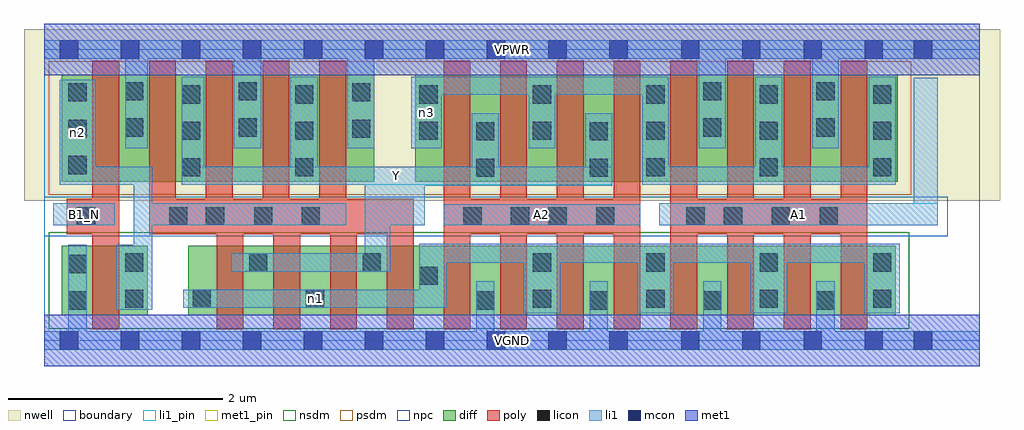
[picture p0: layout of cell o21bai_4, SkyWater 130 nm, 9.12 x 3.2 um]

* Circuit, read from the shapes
.subckt o21bai_4 A1 A2 B1_N VGND VPWR Y n1 n2 n3
XM1 n2 B1_N VGND VSUBS sky130_fd_pr__nfet_01v8 w=0.65 l=0.25
XM2 Y n2 n1 VSUBS sky130_fd_pr__nfet_01v8 w=0.65 l=0.25 m=4
XM3 VGND A2 n1 VSUBS sky130_fd_pr__nfet_01v8 w=0.65 l=0.25 m=4
XM4 VGND A1 n1 VSUBS sky130_fd_pr__nfet_01v8 w=0.65 l=0.25 m=4
XM5 VPWR B1_N n2 n4 sky130_fd_pr__pfet_01v8 w=1 l=0.25
XM6 Y n2 VPWR n4 sky130_fd_pr__pfet_01v8 w=1 l=0.25 m=4
XM7 Y A2 n3 n4 sky130_fd_pr__pfet_01v8 w=1 l=0.25 m=4
XM8 VPWR A1 n3 n4 sky130_fd_pr__pfet_01v8 w=1 l=0.25 m=4
.ends

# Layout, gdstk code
import gdstk
lib = gdstk.Library(unit=1e-6, precision=1e-09)
def R(c, l, rs):  # rectangles x0, y0, x1, y1
    for r in rs: c.add(gdstk.rectangle(r[:2], r[2:], *l))
def A(c, l, x, y, w, h, nx, ny, dx, dy):  # array of equal rectangles
    R(c, l, [(x+i*dx, y+j*dy, x+i*dx+w, y+j*dy+h) for i in range(nx) for j in range(ny)])
nwell = (64, 20)
diff = (65, 20)
poly = (66, 20)
licon = (66, 44)
li1_pin = (67, 16)
li1 = (67, 20)
mcon = (67, 44)
met1_pin = (68, 16)
met1 = (68, 20)
nsdm = (93, 44)
psdm = (94, 20)
npc = (95, 20)
boundary = (235, 4)

o21bai_4 = lib.new_cell('o21bai_4')
R(o21bai_4, nwell, [(-0.19,1.305,8.93,2.91), (0,1.305,8.74,2.91)])
R(o21bai_4, diff, [(0.165,0.235,0.965,0.885), (1.345,0.235,7.955,0.885), (0.165,1.485,3.085,2.485), (3.465,1.485,7.975,2.485)])
A(o21bai_4, poly, 1.61, 0.105, 0.25, 1.22, 4, 1, 0.53, 0)
A(o21bai_4, poly, 3.73, 0.105, 0.25, 2.51, 8, 1, 0.53, 0)
A(o21bai_4, poly, 0.98, 0.995, 0.25, 1.62, 4, 1, 0.53, 0)
R(o21bai_4, poly, [(0.45,0.105,0.7,2.615), (0.21,0.995,0.7,1.325), (0.98,0.995,3.45,1.325), (3.73,0.995,5.57,1.325), (5.85,0.995,7.69,1.325)])
A(o21bai_4, licon, 4.035, 0.29, 0.17, 0.17, 4, 1, 1.06, 0)
A(o21bai_4, licon, 4.565, 0.305, 0.17, 0.17, 4, 2, 1.06, 0.34)
A(o21bai_4, licon, 1.285, 1.535, 0.17, 0.17, 1, 3, 0, 0.34)
A(o21bai_4, licon, 2.345, 1.535, 0.17, 0.17, 1, 3, 0, 0.34)
A(o21bai_4, licon, 5.625, 1.535, 0.17, 0.17, 3, 1, 1.06, 0)
A(o21bai_4, licon, 0.225, 1.555, 0.17, 0.17, 1, 3, 0, 0.34)
A(o21bai_4, licon, 3.505, 1.875, 0.17, 0.17, 5, 2, 1.06, 0.34)
R(o21bai_4, licon, [(0.225,0.29,0.395,0.46), (0.755,0.305,0.925,0.475), (1.385,0.305,1.555,0.475), (2.445,0.305,2.615,0.475), (3.505,0.52,3.675,0.69), (0.225,0.63,0.395,0.8), (0.755,0.645,0.925,0.815), (1.915,0.645,2.085,0.815), (2.975,0.645,3.145,0.815), (0.305,1.075,0.475,1.245), (1.165,1.075,1.335,1.245), (1.51,1.075,1.68,1.245), (1.96,1.075,2.13,1.245), (2.405,1.075,2.575,1.245), (3.915,1.075,4.085,1.245), (4.36,1.075,4.53,1.245), (4.71,1.075,4.88,1.245), (5.155,1.075,5.325,1.245), (6,1.075,6.17,1.245), (6.35,1.075,6.52,1.245), (6.795,1.075,6.965,1.245), (7.245,1.075,7.415,1.245), (4.035,1.53,4.205,1.7), (5.095,1.53,5.265,1.7), (4.035,1.87,4.205,2.04), (5.095,1.87,5.265,2.04), (2.875,1.895,3.045,2.065), (0.755,1.905,0.925,2.075), (1.815,1.905,1.985,2.075), (6.155,1.905,6.325,2.075), (7.215,1.905,7.385,2.075), (2.875,2.235,3.045,2.405), (0.755,2.245,0.925,2.415), (1.815,2.245,1.985,2.415), (6.155,2.245,6.325,2.415), (7.215,2.245,7.385,2.415)])
R(o21bai_4, li1_pin, [(0.085,1.075,0.66,1.285), (3.73,1.075,5.57,1.275), (5.745,1.075,8.35,1.285), (1.285,1.455,5.305,1.625)])
A(o21bai_4, li1, 4.035, -0.085, 0.17, 0.64, 4, 1, 1.06, 0)
A(o21bai_4, li1, 4.48, 0.255, 0.34, 0.65, 3, 1, 1.06, 0)
A(o21bai_4, li1, 5.585, 1.455, 0.25, 1.01, 3, 1, 1.06, 0)
R(o21bai_4, li1, [(0,-0.085,8.74,0.085), (0.225,-0.085,0.395,0.895), (7.66,0.255,7.995,0.905), (0.67,0.29,1.01,0.895), (0.835,0.29,1.01,1.625), (1.3,0.305,3.76,0.475), (3.505,0.305,3.76,0.905), (1.745,0.645,3.23,0.815), (2.995,0.645,3.23,1.625), (3.505,0.725,7.995,0.905), (0.085,1.075,0.66,1.285), (0.835,1.075,2.82,1.285), (2.995,1.075,3.555,1.625), (3.73,1.075,5.57,1.275), (5.745,1.075,8.35,1.285), (8.125,1.075,8.35,2.455), (2.995,1.445,5.305,1.625), (3.995,1.445,4.245,2.125), (5.055,1.445,5.305,2.125), (0.145,1.455,0.48,2.435), (0.145,1.455,1.01,1.625), (1.285,1.455,5.305,1.625), (1.285,1.455,1.495,2.465), (2.3,1.455,2.555,2.465), (5.585,1.455,7.955,1.625), (0.755,1.795,0.965,2.805), (1.77,1.795,2.025,2.805), (2.83,1.795,3.085,2.805), (3.43,1.795,3.715,2.465), (4.525,1.795,4.775,2.465), (6.115,1.795,6.365,2.805), (7.175,1.795,7.425,2.805), (3.43,2.295,5.835,2.465), (0,2.635,8.74,2.805)])
A(o21bai_4, mcon, 0.145, -0.085, 0.17, 0.17, 8, 2, 0.57, 2.72)
R(o21bai_4, mcon, [(4.71,-0.085,4.88,0.085), (5.28,-0.085,5.45,0.085), (5.95,-0.085,6.12,0.085), (6.52,-0.085,6.69,0.085), (7.095,-0.085,7.265,0.085), (7.665,-0.085,7.835,0.085), (8.125,-0.085,8.295,0.085), (4.71,2.635,4.88,2.805), (5.28,2.635,5.45,2.805), (5.95,2.635,6.12,2.805), (6.52,2.635,6.69,2.805), (7.095,2.635,7.265,2.805), (7.665,2.635,7.835,2.805), (8.125,2.635,8.295,2.805)])
R(o21bai_4, met1_pin, [(0,-0.24,8.74,0.24), (0,2.48,8.74,2.96)])
R(o21bai_4, met1, [(0,-0.24,8.74,0.24), (0,2.48,8.74,2.96)])
R(o21bai_4, nsdm, [(0.04,0.11,8.08,1.01)])
R(o21bai_4, psdm, [(0.04,1.36,8.1,2.61)])
R(o21bai_4, npc, [(0,0.975,8.44,1.345)])
R(o21bai_4, boundary, [(0,0,8.74,2.72)])
o21bai_4.add(gdstk.Label('A1', (7.047,1.18), layer=67, texttype=5))
o21bai_4.add(gdstk.Label('A2', (4.65,1.175), layer=67, texttype=5))
o21bai_4.add(gdstk.Label('B1_N', (0.372,1.18), layer=67, texttype=5))
o21bai_4.add(gdstk.Label('Y', (3.295,1.54), layer=67, texttype=5))
o21bai_4.add(gdstk.Label('n1', (2.53,0.39), layer=67, texttype=5))
o21bai_4.add(gdstk.Label('n2', (0.312,1.945), layer=67, texttype=5))
o21bai_4.add(gdstk.Label('n3', (3.572,2.13), layer=67, texttype=5))
o21bai_4.add(gdstk.Label('VPWR', (4.37,2.72), layer=68, texttype=5))
o21bai_4.add(gdstk.Label('VGND', (4.37,0), layer=68, texttype=5))
o21bai_4.add(gdstk.Label('A1', (7.047,1.18), layer=67, texttype=16))
o21bai_4.add(gdstk.Label('A2', (4.65,1.175), layer=67, texttype=16))
o21bai_4.add(gdstk.Label('B1_N', (0.372,1.18), layer=67, texttype=16))
o21bai_4.add(gdstk.Label('Y', (3.295,1.54), layer=67, texttype=16))
o21bai_4.add(gdstk.Label('VPWR', (4.37,2.72), layer=68, texttype=16))
o21bai_4.add(gdstk.Label('VGND', (4.37,0), layer=68, texttype=16))

lib.write_gds('o21bai_4.gds')
